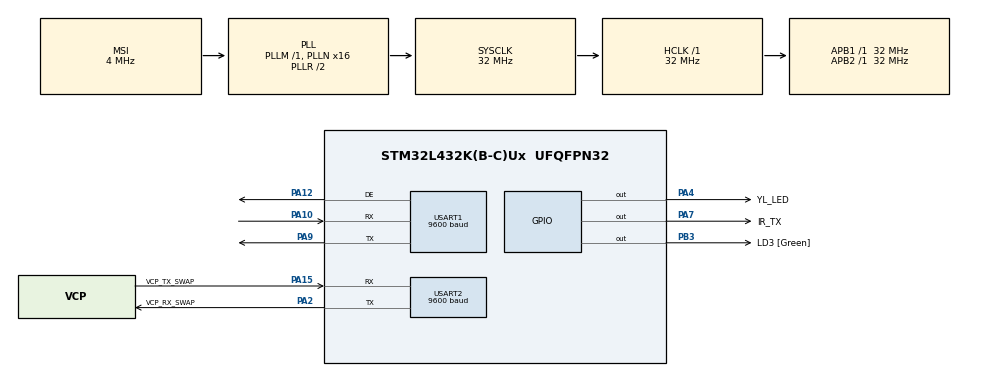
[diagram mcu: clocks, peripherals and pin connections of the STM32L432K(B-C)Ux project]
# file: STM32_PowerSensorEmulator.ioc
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Dma.Request0=USART1_RX
Dma.Request1=USART2_RX
Dma.USART1_RX.0.Direction=DMA_PERIPH_TO_MEMORY
Dma.USART1_RX.0.Instance=DMA1_Channel5
Dma.USART1_RX.0.MemDataAlignment=DMA_MDATAALIGN_BYTE
Dma.USART1_RX.0.MemInc=DMA_MINC_ENABLE
Dma.USART1_RX.0.Mode=DMA_NORMAL
Dma.USART1_RX.0.PeriphDataAlignment=DMA_PDATAALIGN_BYTE
Dma.USART1_RX.0.PeriphInc=DMA_PINC_DISABLE
Dma.USART1_RX.0.Priority=DMA_PRIORITY_LOW
Dma.USART2_RX.1.Direction=DMA_PERIPH_TO_MEMORY
Dma.USART2_RX.1.Instance=DMA1_Channel6
Dma.USART2_RX.1.MemDataAlignment=DMA_MDATAALIGN_BYTE
Dma.USART2_RX.1.MemInc=DMA_MINC_ENABLE
Dma.USART2_RX.1.Mode=DMA_CIRCULAR
Dma.USART2_RX.1.PeriphDataAlignment=DMA_PDATAALIGN_BYTE
Dma.USART2_RX.1.PeriphInc=DMA_PINC_DISABLE
Dma.USART2_RX.1.Priority=DMA_PRIORITY_LOW
IWDG.Prescaler=IWDG_PRESCALER_8
Mcu.Family=STM32L4
Mcu.Name=STM32L432K(B-C)Ux
Mcu.Package=UFQFPN32
NVIC.DMA1_Channel5_IRQn=true\:4\:0\:true\:false\:true\:false\:true\:true
NVIC.DMA1_Channel6_IRQn=true\:2\:0\:true\:false\:true\:false\:true\:true
NVIC.PriorityGroup=NVIC_PRIORITYGROUP_4
NVIC.USART1_IRQn=true\:4\:0\:true\:false\:true\:true\:true\:true
NVIC.USART2_IRQn=true\:2\:0\:true\:false\:true\:true\:true\:true
PA0.GPIO_Label=MCO [High speed clock in]
PA0.Mode=HSE-External-Clock-Source-for-LittleOrca
PA0.Signal=RCC_CK_IN
PA10.Mode=Asynchronous
PA10.Signal=USART1_RX
PA12.Mode=Hardware Flow Control (RS485)
PA12.Signal=USART1_DE
PA13\ (JTMS-SWDIO).GPIO_Label=SWDIO
PA13\ (JTMS-SWDIO).Mode=Serial_Wire
PA13\ (JTMS-SWDIO).Signal=SYS_JTMS-SWDIO
PA14\ (JTCK-SWCLK).GPIO_Label=SWCLK
PA14\ (JTCK-SWCLK).Mode=Serial_Wire
PA14\ (JTCK-SWCLK).Signal=SYS_JTCK-SWCLK
PA15\ (JTDI).GPIO_Label=VCP_TX_SWAP
PA15\ (JTDI).Mode=Asynchronous
PA15\ (JTDI).Signal=USART2_RX
PA2.GPIO_Label=VCP_RX_SWAP
PA2.Mode=Asynchronous
PA2.Signal=USART2_TX
PA4.GPIO_Label=YL_LED
PA4.Signal=GPIO_Output
PA7.GPIO_Label=IR_TX
PA7.PinState=GPIO_PIN_SET
PA7.Signal=GPIO_Output
PA9.Mode=Asynchronous
PA9.Signal=USART1_TX
PB3\ (JTDO-TRACESWO).GPIO_Label=LD3 [Green]
PB3\ (JTDO-TRACESWO).Signal=GPIO_Output
PC14-OSC32_IN\ (PC14).Mode=LSE-External-Oscillator
PC14-OSC32_IN\ (PC14).Signal=RCC_OSC32_IN
PC15-OSC32_OUT\ (PC15).Mode=LSE-External-Oscillator
PC15-OSC32_OUT\ (PC15).Signal=RCC_OSC32_OUT
ProjectManager.HeapSize=0x200
ProjectManager.StackSize=0x400
ProjectManager.TargetToolchain=STM32CubeIDE
RCC.AHBFreq_Value=32000000
RCC.APB1Freq_Value=32000000
RCC.APB1TimFreq_Value=32000000
RCC.APB2Freq_Value=32000000
RCC.APB2TimFreq_Value=32000000
RCC.CortexFreq_Value=32000000
RCC.HCLKFreq_Value=32000000
RCC.HSE_VALUE=8000000
RCC.HSI16_VALUE=16000000
RCC.HSI48_VALUE=48000000
RCC.HSI_VALUE=16000000
RCC.MSI_VALUE=4000000
RCC.PLLMUL=RCC_PLLMUL_4
RCC.PLLN=16
RCC.SYSCLKFreq_VALUE=32000000
RCC.SYSCLKSource=RCC_SYSCLKSOURCE_PLLCLK
RCC.VCOOutputFreq_Value=64000000
USART1.BaudRate=9600
USART1.VirtualMode-Asynchronous=VM_ASYNC
USART1.VirtualMode-Hardware\ Flow\ Control\ (RS485)=VM_ASYNC
USART2.BaudRate=9600
USART2.SwapParam=ADVFEATURE_SWAP_ENABLE
USART2.VirtualMode-Asynchronous=VM_ASYNC
VP_IWDG_VS_IWDG.Mode=IWDG_Activate
board=NUCLEO-L432KC

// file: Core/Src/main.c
/* USER CODE BEGIN Header */
/**
  ******************************************************************************
  * @file           : main.c
  * @brief          : Main program body
  ******************************************************************************
  * @attention
  *
  * Copyright (c) 2024 STMicroelectronics.
  * All rights reserved.
  *
  * This software is licensed under terms that can be found in the LICENSE file
  * in the root directory of this software component.
  * If no LICENSE file comes with this software, it is provided AS-IS.
  *
  ******************************************************************************
  */
/* USER CODE END Header */
#include "main.h"

/* USER CODE BEGIN Includes */
#include <stdbool.h>
#include <stdlib.h>
#include <string.h>
//#include <modbus.h>
#include <chintPowerSensor_modbus.h>
#include <sml/sml_parser.h>

/* USER CODE END Includes */

/* USER CODE BEGIN PD */
#define uSend(x) uartSend((char *)x, sizeof x)
/* USER CODE END PD */

IWDG_HandleTypeDef hiwdg;

UART_HandleTypeDef huart1;
UART_HandleTypeDef huart2;
DMA_HandleTypeDef hdma_usart1_rx;
DMA_HandleTypeDef hdma_usart2_rx;

/* USER CODE BEGIN PV */

// UART is used for production and pins are swapped
// -> avoid driving Nucleo UART TX pin and set debug output to 0
// Because of pin swapping, Nucleo UART receives smart meter messages
#define DEBUG_OUTPUT 0
char debug_tx_buf[50];

// **********************
// USART1 is RS485 Modbus
// **********************
#define RS485_RX_BUFFER_SIZE   100
uint8_t rs485_rxDMAbuf[RS485_RX_BUFFER_SIZE] = {0};

volatile bool request_restart_rs485_rx;
volatile bool request_restart_ir_smart_meter_rx;
mbus_t modbus;

// ****************************************
// USART2 is Smart Meter Infrared Interface
// ****************************************
// test in linux:
// stty raw -F /dev/ttyACM0 9600  # without raw, linux adds \r to \n and corrupts data!
// does not work in final version, because tx and rx pin have to be swapped to access rx pin
#define IR_RX_BUFFER_SIZE 1024
uint8_t ir_rxDMAbuf[IR_RX_BUFFER_SIZE] = {0};
uint8_t ir_rxUSERbuf[IR_RX_BUFFER_SIZE] = {0};

volatile bool request_ir_USERbuf_clear = false;
volatile bool sml_parser_started = false;
volatile uint16_t ir_rxUSERbuf_pos = 0;
__IO uint32_t     uwNbReceivedChars;

meter_model_t METER_MODEL = ISKRA_MT175;  // no CRC check; wait for more data -> does not work with MT631
//meter_model_t METER_MODEL = ISKRA_MT631;  //    CRC check; short data

uint16_t MIN_SML_LEN = 200;  // is set to larger value for ISKRA_MT175

#if 0  // init some testvalues, dont use for production to avoid disturbing the PV-inverter
volatile float power_W = 300;
volatile float energy_export_kWh = 4.0;
volatile float energy_import_kWh = 2.0;
#else
volatile float power_W = 0;
volatile float energy_export_kWh = 0;
volatile float energy_import_kWh = 0;
#endif

/* USER CODE END PV */

void SystemClock_Config(void);
static void MX_GPIO_Init(void);
static void MX_DMA_Init(void);
static void MX_USART2_UART_Init(void);
static void MX_USART1_UART_Init(void);
static void MX_IWDG_Init(void);
/* USER CODE BEGIN PFP */

uint32_t mbus_tickcount()
{
	return HAL_GetTick();
}

void resetWatchdog()
{
	// Watchdog runs at 32/8=4kHz -> ~1sec for 4095
    /* Refresh IWDG: reload counter */
    if(HAL_IWDG_Refresh(&hiwdg) != HAL_OK) {
      /* Refresh Error */
      Error_Handler();
    }
}

void show_sys_error()
{
	  static uint16_t err_cnt = 0;
	  static bool green_led_on;
	  if (green_led_on) {
		  GPIOB->BRR = (1<<3);  // disable green LED and pin D13
		  GPIOA->BRR = (1<<4);  // enable yellow LED (PA4=A3)
		  green_led_on = false;
	  } else {
		  GPIOB->BSRR = (1<<3);  // enable green LED and pin D13
		  GPIOA->BSRR = (1<<4);  // disable yellow LED (PA4=A3)
		  green_led_on = true;
	  }
	  // HAL_Delay(100); does not work without IRQ
	  uint32_t i = 0;
	  while (i<800000) { // ~100ms  with -Ofast
		  i++;
		  asm("nop");
	  }
	  err_cnt++;

	  if (err_cnt >= 600) {  // autoreset after ~60 seconds (-Ofast) if no watchdog overflow
		  NVIC_SystemReset();
	  }
}

void uartSend(char* ptr, int len)
{
#if DEBUG_OUTPUT == 1
	HAL_UART_Transmit(&huart2, (uint8_t *)ptr, len, 10);
#endif
}

void uSendInt(int value)
{
#if DEBUG_OUTPUT == 1
	itoa(value, debug_tx_buf, 10);
	int tx_len=strlen(debug_tx_buf);
	HAL_UART_Transmit(&huart2, (uint8_t *)debug_tx_buf, tx_len, 10);
#endif
}

int mbus_send(const mbus_t context, const uint8_t* data, const uint16_t size)
{
	// V1: blocking during send
	HAL_Delay(1);
	if (HAL_UART_Transmit( &huart1, (uint8_t*) data, size, 1000) == HAL_OK) {
		return size;
	}

	// V2: use DMA
//	if (HAL_UART_Transmit_DMA( &huart1, (uint8_t*) data, size) == HAL_OK) {
//		return size;
//	}

	return 0;
}

void Start_RS485_Reception(void);
void Start_SmartMeterIR_Reception(void);

void UserDataTreatment(UART_HandleTypeDef *huart, uint8_t* pData, uint16_t Size);
/* USER CODE END PFP */

int main(void)
{

  /* MCU Configuration--------------------------------------------------------*/

  /* Reset of all peripherals, Initializes the Flash interface and the Systick. */
  HAL_Init();

  /* Configure the system clock */
  SystemClock_Config();

  /* Initialize all configured peripherals */
  MX_GPIO_Init();
  MX_DMA_Init();
  MX_USART2_UART_Init();
  MX_USART1_UART_Init();
  MX_IWDG_Init();
  /* USER CODE BEGIN 2 */

  uint8_t tx_buf[STMODBUS_MAX_RESPONSE_SIZE] = {0};

  Modbus_Conf_t mb_config;
  mb_config.send = &mbus_send;
  mb_config.sendbuf = tx_buf;
  mb_config.sendbuf_sz = STMODBUS_MAX_RESPONSE_SIZE;
  modbus = mbus_powersensor_open(&mb_config);

  resetWatchdog();
  uSend("SM_Adapter  ");
  uSend(__DATE__);
  uSend(" ");
  uSend(__TIME__);
  uSend("\n");

  /*## Check if the system has resumed from IWDG reset ####################*/
  if (__HAL_RCC_GET_FLAG(RCC_FLAG_IWDGRST) != 0x00u)
  {
    uSend("Watchdog caused reset!");
    uSend("\n");
    show_sys_error();
  }

  uint32_t ticks_last_sml_success = HAL_GetTick();

  if (METER_MODEL == ISKRA_MT175) {
  	MIN_SML_LEN = 264;
  }

  Start_SmartMeterIR_Reception();

  Start_RS485_Reception();

  /* USER CODE END 2 */

  /* Infinite loop */
  while (1)
  {

    /* USER CODE BEGIN 3 */

	  resetWatchdog();
#if 0  // V1: polling
		uint8_t rx_byte;

		if (HAL_UART_Receive(&huart1, &rx_byte, 1, 1) == HAL_OK) {
			rx_buf[pos++] = rx_byte;
			if (pos == 8) {
				total_msg++;
				if (total_msg==2){
					asm("nop");
				}
				for (int i = 0; i<8; i++) {
					mbus_poll(modbus, rx_buf[i]);
				}
				pos = 0;
			}
		}

#else	// V2: async
	if(request_restart_rs485_rx) {
		request_restart_rs485_rx = false;

		if (HAL_ERROR == HAL_UARTEx_ReceiveToIdle_DMA(&huart1, rs485_rxDMAbuf, RS485_RX_BUFFER_SIZE)) {
			Error_Handler();
		}
	}
#endif

	// **************************
	// * Parse Smart Meter Data *
	// **************************

	if(request_restart_ir_smart_meter_rx) {
		request_restart_ir_smart_meter_rx = false;

		if (HAL_ERROR == HAL_UARTEx_ReceiveToIdle_DMA(&huart2, ir_rxDMAbuf, IR_RX_BUFFER_SIZE)) {
			Error_Handler();
		}
	}

	if (request_ir_USERbuf_clear == false) {
		if (ir_rxUSERbuf_pos > MIN_SML_LEN) {
			sml_parser_started = true;
			uSendInt(ir_rxUSERbuf_pos);
			meterdata_t meterdata;
			if (parse_sml((char*)ir_rxUSERbuf, ir_rxUSERbuf_pos, METER_MODEL, &meterdata) == SML_PARSE_OKAY) {
				power_W = meterdata.power;
				energy_export_kWh = meterdata.e_export_100mWh/10000.0;
				energy_import_kWh = meterdata.e_import_100mWh/10000.0;

				ticks_last_sml_success = HAL_GetTick();
				resetWatchdog();
				uSend("SML_OK\n");

				static bool yellow_led_on;
				if (yellow_led_on) {
					GPIOA->BSRR = (1<<4);  // disable yellow LED (PA4=A3)
					yellow_led_on = false;
				} else {
					GPIOA->BRR = (1<<4);  // enable yellow LED (PA4=A3)
					yellow_led_on = true;
				}

			} else {
				uSend("SML_ERR\n");
			}
			sml_parser_started = false;
			request_ir_USERbuf_clear = true;
		}
	}

	// set power to zero in case of broken link to smart meter
	const uint32_t TIMEOUT_SML_SEC = 10;
	const uint32_t TIMEOUT_SML_REBOOT_SEC = 30;
	uint32_t ticks = HAL_GetTick();
	static uint32_t ticks_prev_check;

	if ( ticks > ticks_last_sml_success+TIMEOUT_SML_SEC*1000) {
		if (ticks < ticks_prev_check) {  // prevent error during overflow
			ticks_last_sml_success = 0;  // set to 0 when ticks overflow
		} else {
			power_W = 0;
			if ( ticks > ticks_last_sml_success+TIMEOUT_SML_REBOOT_SEC*1000) {
				NVIC_SystemReset();
			}
		}
	}
	ticks_prev_check = ticks;

  }
  /* USER CODE END 3 */
}

void SystemClock_Config(void)
{
  RCC_OscInitTypeDef RCC_OscInitStruct = {0};
  RCC_ClkInitTypeDef RCC_ClkInitStruct = {0};

  /** Configure the main internal regulator output voltage
  */
  if (HAL_PWREx_ControlVoltageScaling(PWR_REGULATOR_VOLTAGE_SCALE1) != HAL_OK)
  {
    Error_Handler();
  }

  /** Configure LSE Drive Capability
  */
  HAL_PWR_EnableBkUpAccess();
  __HAL_RCC_LSEDRIVE_CONFIG(RCC_LSEDRIVE_LOW);

  /** Initializes the RCC Oscillators according to the specified parameters
  * in the RCC_OscInitTypeDef structure.
  */
  RCC_OscInitStruct.OscillatorType = RCC_OSCILLATORTYPE_LSI|RCC_OSCILLATORTYPE_LSE
                              |RCC_OSCILLATORTYPE_MSI;
  RCC_OscInitStruct.LSEState = RCC_LSE_ON;
  RCC_OscInitStruct.LSIState = RCC_LSI_ON;
  RCC_OscInitStruct.MSIState = RCC_MSI_ON;
  RCC_OscInitStruct.MSICalibrationValue = 0;
  RCC_OscInitStruct.MSIClockRange = RCC_MSIRANGE_6;
  RCC_OscInitStruct.PLL.PLLState = RCC_PLL_ON;
  RCC_OscInitStruct.PLL.PLLSource = RCC_PLLSOURCE_MSI;
  RCC_OscInitStruct.PLL.PLLM = 1;
  RCC_OscInitStruct.PLL.PLLN = 16;
  RCC_OscInitStruct.PLL.PLLP = RCC_PLLP_DIV7;
  RCC_OscInitStruct.PLL.PLLQ = RCC_PLLQ_DIV2;
  RCC_OscInitStruct.PLL.PLLR = RCC_PLLR_DIV2;
  if (HAL_RCC_OscConfig(&RCC_OscInitStruct) != HAL_OK)
  {
    Error_Handler();
  }

  /** Initializes the CPU, AHB and APB buses clocks
  */
  RCC_ClkInitStruct.ClockType = RCC_CLOCKTYPE_HCLK|RCC_CLOCKTYPE_SYSCLK
                              |RCC_CLOCKTYPE_PCLK1|RCC_CLOCKTYPE_PCLK2;
  RCC_ClkInitStruct.SYSCLKSource = RCC_SYSCLKSOURCE_PLLCLK;
  RCC_ClkInitStruct.AHBCLKDivider = RCC_SYSCLK_DIV1;
  RCC_ClkInitStruct.APB1CLKDivider = RCC_HCLK_DIV1;
  RCC_ClkInitStruct.APB2CLKDivider = RCC_HCLK_DIV1;

  if (HAL_RCC_ClockConfig(&RCC_ClkInitStruct, FLASH_LATENCY_1) != HAL_OK)
  {
    Error_Handler();
  }

  /** Enable MSI Auto calibration
  */
  HAL_RCCEx_EnableMSIPLLMode();
}

static void MX_IWDG_Init(void)
{

  hiwdg.Instance = IWDG;
  hiwdg.Init.Prescaler = IWDG_PRESCALER_8;
  hiwdg.Init.Window = 4095;
  hiwdg.Init.Reload = 4095;
  if (HAL_IWDG_Init(&hiwdg) != HAL_OK)
  {
    Error_Handler();
  }

}

static void MX_USART1_UART_Init(void)
{

  huart1.Instance = USART1;
  huart1.Init.BaudRate = 9600;
  huart1.Init.WordLength = UART_WORDLENGTH_8B;
  huart1.Init.StopBits = UART_STOPBITS_1;
  huart1.Init.Parity = UART_PARITY_NONE;
  huart1.Init.Mode = UART_MODE_TX_RX;
  huart1.Init.HwFlowCtl = UART_HWCONTROL_NONE;
  huart1.Init.OverSampling = UART_OVERSAMPLING_16;
  huart1.Init.OneBitSampling = UART_ONE_BIT_SAMPLE_DISABLE;
  huart1.AdvancedInit.AdvFeatureInit = UART_ADVFEATURE_NO_INIT;
  if (HAL_RS485Ex_Init(&huart1, UART_DE_POLARITY_HIGH, 0, 0) != HAL_OK)
  {
    Error_Handler();
  }

}

static void MX_USART2_UART_Init(void)
{

  huart2.Instance = USART2;
  huart2.Init.BaudRate = 9600;
  huart2.Init.WordLength = UART_WORDLENGTH_8B;
  huart2.Init.StopBits = UART_STOPBITS_1;
  huart2.Init.Parity = UART_PARITY_NONE;
  huart2.Init.Mode = UART_MODE_TX_RX;
  huart2.Init.HwFlowCtl = UART_HWCONTROL_NONE;
  huart2.Init.OverSampling = UART_OVERSAMPLING_16;
  huart2.Init.OneBitSampling = UART_ONE_BIT_SAMPLE_DISABLE;
  huart2.AdvancedInit.AdvFeatureInit = UART_ADVFEATURE_SWAP_INIT;
  huart2.AdvancedInit.Swap = UART_ADVFEATURE_SWAP_ENABLE;
  if (HAL_UART_Init(&huart2) != HAL_OK)
  {
    Error_Handler();
  }

}

static void MX_DMA_Init(void)
{

  /* DMA controller clock enable */
  __HAL_RCC_DMA1_CLK_ENABLE();

  /* DMA interrupt init */
  /* DMA1_Channel5_IRQn interrupt configuration */
  HAL_NVIC_SetPriority(DMA1_Channel5_IRQn, 4, 0);
  HAL_NVIC_EnableIRQ(DMA1_Channel5_IRQn);
  /* DMA1_Channel6_IRQn interrupt configuration */
  HAL_NVIC_SetPriority(DMA1_Channel6_IRQn, 2, 0);
  HAL_NVIC_EnableIRQ(DMA1_Channel6_IRQn);

}

static void MX_GPIO_Init(void)
{
  GPIO_InitTypeDef GPIO_InitStruct = {0};

  /* GPIO Ports Clock Enable */
  __HAL_RCC_GPIOC_CLK_ENABLE();
  __HAL_RCC_GPIOA_CLK_ENABLE();
  __HAL_RCC_GPIOB_CLK_ENABLE();

  /*Configure GPIO pin Output Level */
  HAL_GPIO_WritePin(YL_LED_GPIO_Port, YL_LED_Pin, GPIO_PIN_RESET);

  /*Configure GPIO pin Output Level */
  HAL_GPIO_WritePin(IR_TX_GPIO_Port, IR_TX_Pin, GPIO_PIN_SET);

  /*Configure GPIO pin Output Level */
  HAL_GPIO_WritePin(LD3_GPIO_Port, LD3_Pin, GPIO_PIN_RESET);

  /*Configure GPIO pins : YL_LED_Pin IR_TX_Pin */
  GPIO_InitStruct.Pin = YL_LED_Pin|IR_TX_Pin;
  GPIO_InitStruct.Mode = GPIO_MODE_OUTPUT_PP;
  GPIO_InitStruct.Pull = GPIO_NOPULL;
  GPIO_InitStruct.Speed = GPIO_SPEED_FREQ_LOW;
  HAL_GPIO_Init(GPIOA, &GPIO_InitStruct);

  /*Configure GPIO pin : LD3_Pin */
  GPIO_InitStruct.Pin = LD3_Pin;
  GPIO_InitStruct.Mode = GPIO_MODE_OUTPUT_PP;
  GPIO_InitStruct.Pull = GPIO_NOPULL;
  GPIO_InitStruct.Speed = GPIO_SPEED_FREQ_LOW;
  HAL_GPIO_Init(LD3_GPIO_Port, &GPIO_InitStruct);

}

/* USER CODE BEGIN 4 */

void Start_SmartMeterIR_Reception(void)
{
  /* Initializes Buffer swap mechanism (used in User callback) :
     - 2 physical buffers aRXBufferA and aRXBufferB (RX_BUFFER_SIZE length)
  */
//  pBufferReadyForReception = aRXBufferA;
//  pBufferReadyForUser      = aRXBufferB;
  uwNbReceivedChars        = 0;

  /* Print user info on PC com port */
  //PrintInfo(&hlpuart1, aTextInfoStart, COUNTOF(aTextInfoStart));

  /* Initializes Rx sequence using Reception To Idle event API.
     As DMA channel associated to UART Rx is configured as Circular,
     reception is endless.
     If reception has to be stopped, call to HAL_UART_AbortReceive() could be used.

     Use of HAL_UARTEx_ReceiveToIdle_DMA service, will generate calls to
     user defined HAL_UARTEx_RxEventCallback callback for each occurrence of
     following events :
     - DMA RX Half Transfer event (HT)
     - DMA RX Transfer Complete event (TC)
     - IDLE event on UART Rx line (indicating a pause is UART reception flow)
  */
  if (HAL_OK != HAL_UARTEx_ReceiveToIdle_DMA(&huart2, ir_rxDMAbuf, IR_RX_BUFFER_SIZE))
  {
    Error_Handler();
  }
}

void Start_RS485_Reception(void)
{
  /* Initializes Rx sequence using Reception To Idle event API.
     As DMA channel associated to UART Rx is configured as Circular,
     reception is endless.
     If reception has to be stopped, call to HAL_UART_AbortReceive() could be used.

     Use of HAL_UARTEx_ReceiveToIdle_DMA service, will generate calls to
     user defined HAL_UARTEx_RxEventCallback callback for each occurrence of
     following events :
     - DMA RX Half Transfer event (HT)
     - DMA RX Transfer Complete event (TC)
     - IDLE event on UART Rx line (indicating a pause is UART reception flow)
  */
  if (HAL_OK != HAL_UARTEx_ReceiveToIdle_DMA(&huart1, rs485_rxDMAbuf, RS485_RX_BUFFER_SIZE))
  {
    Error_Handler();
  }
}

/**
  * @brief  User implementation of the Reception Event Callback
  *         (Rx event notification called after use of advanced reception service).
  * @param  huart UART handle
  * @param  Size  Number of data available in application reception buffer (indicates a position in
  *               reception buffer until which, data are available)
  * @retval None
  */
void HAL_UARTEx_RxEventCallback(UART_HandleTypeDef *huart, uint16_t Size)
{
	if (huart == &huart1) {  // RS485

		static bool green_led_on;
		if (green_led_on) {
			GPIOB->BRR = (1<<3);  // disable green LED and pin D13
			green_led_on = false;
		} else {
			GPIOB->BSRR = (1<<3);  // enable green LED and pin D13
			green_led_on = true;
		}

		for (uint16_t i = 0; i < Size; i++) {
			//pBufferReadyForUser[i] = rs485_rxDMAbuf[i];
			//HAL_UART_Transmit(&huart2, &pBufferReadyForUser[old_pos+i],1, 10);  // debug
			mbus_poll(modbus, rs485_rxDMAbuf[i]);
		}

		request_restart_rs485_rx = true;

	} else {  // Smart Meter Infrared / UART Interface

		static uint32_t ticks_last_rx_ms;
		static uint16_t old_dmabuf_pos = 0;

		if (request_ir_USERbuf_clear) {
			ir_rxUSERbuf_pos = 0;
			request_ir_USERbuf_clear = false;
		}

		if (    sml_parser_started == false   // only write to userbuf if parser is not active
			&& (Size != old_dmabuf_pos)  // check if number of received data in reception buffer has changed
			) {

			if (HAL_GetTick()-ticks_last_rx_ms > 400) { // drop old data after 400ms
				ticks_last_rx_ms = HAL_GetTick();
				ir_rxUSERbuf_pos = 0;
			}

			/* Check if position of index in reception buffer has simply be increased
			   of if end of buffer has been reached */
			if (Size > old_dmabuf_pos) {
				/* Current position is higher than previous one */
				uwNbReceivedChars = Size - old_dmabuf_pos;
				/* Copy received data in "User" buffer for evacuation */
				for (uint16_t i = 0; i < uwNbReceivedChars; i++) {
					ir_rxUSERbuf[ir_rxUSERbuf_pos+i] = ir_rxDMAbuf[old_dmabuf_pos + i];
				}

			} else {
				/* Current position is lower than previous one : end of buffer has been reached */
				/* First copy data from current position till end of buffer */
				uwNbReceivedChars = IR_RX_BUFFER_SIZE - old_dmabuf_pos;
				/* Copy received data in "User" buffer for evacuation */
				for (uint16_t i = 0; i < uwNbReceivedChars; i++)	{
					ir_rxUSERbuf[ir_rxUSERbuf_pos+i] = ir_rxDMAbuf[old_dmabuf_pos + i];
				}
				/* Check and continue with beginning of buffer */
				if (Size > 0) {
					for (uint16_t i = 0; i < Size; i++)	{
						ir_rxUSERbuf[ir_rxUSERbuf_pos+uwNbReceivedChars + i] = ir_rxDMAbuf[i];
					}
					uwNbReceivedChars += Size;
				}
			}

			/* Process received data that has been extracted from Rx User buffer */
			ir_rxUSERbuf_pos += uwNbReceivedChars;

			request_restart_ir_smart_meter_rx = true;
		}

		old_dmabuf_pos = Size;
	}
}
/* USER CODE END 4 */

void Error_Handler(void)
{
  /* USER CODE BEGIN Error_Handler_Debug */
  /* User can add his own implementation to report the HAL error return state */
  __disable_irq();
  while (1)
  {
	  show_sys_error();
  }
  /* USER CODE END Error_Handler_Debug */
}
